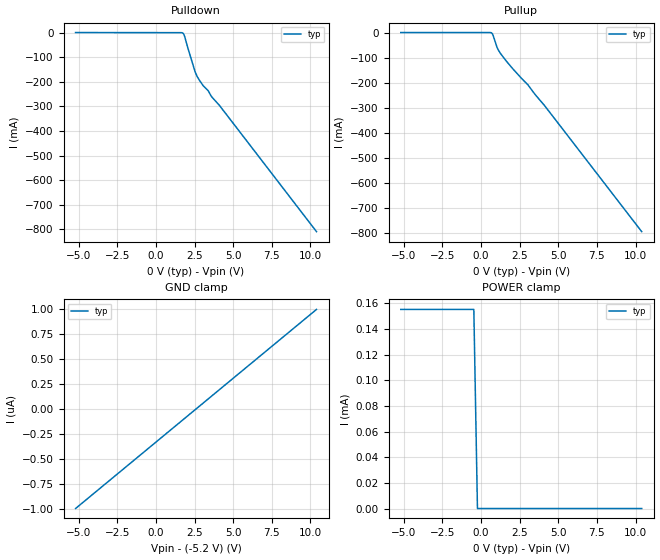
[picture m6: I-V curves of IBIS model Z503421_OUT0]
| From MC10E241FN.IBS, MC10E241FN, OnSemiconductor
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| (C) COPYRIGHT 1993-2000
| MENTOR GRAPHICS CORPORATION
| ICX STANDARD LIBRARY, ICX PROJECT MODELING,
| ICX CUSTOM MODELING, ICX VENDOR MODEL
| ALL RIGHTS RESERVED.
| THE FOLLOWING ARE TRADEMARKS OR SERVICE MARKS OF
| MENTOR GRAPHICS CORPORATION:ICX (R), ICX STANDARD
| LIBRARY(R), ICX PROJECT MODELING(R), ICX CUSTOM
| MODELING(R), qualityIBIS(TM), MODELVIEWER(TM),
| AND MODELEDITOR(TM)
| ALL COPIES OF SOFTWARE, INCLUDING BUT NOT LIMITED TO
| ANY MODIFICATIONS, ENHANCEMENTS OR DERIVATIVE WORKS,
| MUST CONTAIN ALL MENTOR GRAPHICS CORPORATION'S
| NOTICES AND LEGENDS, INCLUDING THOSE EMBEDDED IN
| SOFTWARE AND THOSE AFFIXED TO SOFTWARE MEDIUM
| AND CONTAINER, AS RECEIVED FROM MENTOR GRAPHICS
| CORPORATION.
| Model Application Version 1.89 2/18/99.
[Model] Z503421_OUT0
Model_type Output_ECL
Vref=-2.000V
Rref=50.00ohms
Cref=0.000F
Vmeas=-1.305V
C_comp 8.000pF NA NA
| variable typ   min   max
[Voltage Range] -5.200V NA NA
[POWER Clamp Reference] 0.000V NA NA
[Pullup Reference] 0.000V NA NA
[Pulldown Reference] 0.000V NA NA
[GND Clamp Reference] -5.200V NA NA
[GND Clamp]
-5.2V     -1uA       NA         NA
10.4V     1uA        NA         NA
[Pulldown]
-5.2V     428.3uA    NA         NA
1.758V    -2.281mA   NA         NA
1.865V    -15.82mA   NA         NA
2.07V     -62.62mA   NA         NA
2.545V    -160.4mA   NA         NA
2.809V    -192.7mA   NA         NA
3.066V    -216.1mA   NA         NA
3.42V     -239.4mA   NA         NA
3.633V    -262.5mA   NA         NA
4.097V    -294.5mA   NA         NA
10.4V     -809.3mA   NA         NA
[Pullup]
-5.2V     -82.25uA   NA         NA
683.6mV   -1.676mA   NA         NA
774.7mV   -10.77mA   NA         NA
1.037V    -59.85mA   NA         NA
1.25V     -83.25mA   NA         NA
2.025V    -142.9mA   NA         NA
3.036V    -209.3mA   NA         NA
3.579V    -253.7mA   NA         NA
4.099V    -291.2mA   NA         NA
10.4V     -795.9mA   NA         NA
[POWER Clamp]
-5.2V     155.2uA    NA         NA
-469.2mV  155.2uA    NA         NA
-234.6mV  0A         NA         NA
10.4V     0A         NA         NA
[Ramp]
| variable typ min max
dV/dt_r 605.0m/338.0p NA NA
dV/dt_f 605.0m/334.4p NA NA
R_load = 500.0Ohms
